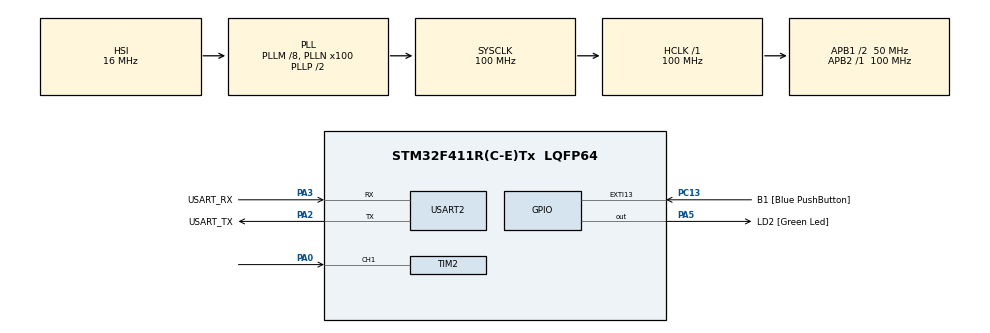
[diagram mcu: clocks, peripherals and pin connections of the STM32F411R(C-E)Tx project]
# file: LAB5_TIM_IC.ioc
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Dma.Request0=TIM2_CH1
Dma.TIM2_CH1.0.Direction=DMA_PERIPH_TO_MEMORY
Dma.TIM2_CH1.0.FIFOMode=DMA_FIFOMODE_DISABLE
Dma.TIM2_CH1.0.Instance=DMA1_Stream5
Dma.TIM2_CH1.0.MemDataAlignment=DMA_MDATAALIGN_WORD
Dma.TIM2_CH1.0.MemInc=DMA_MINC_ENABLE
Dma.TIM2_CH1.0.Mode=DMA_CIRCULAR
Dma.TIM2_CH1.0.PeriphDataAlignment=DMA_PDATAALIGN_WORD
Dma.TIM2_CH1.0.PeriphInc=DMA_PINC_DISABLE
Dma.TIM2_CH1.0.Priority=DMA_PRIORITY_LOW
Mcu.Family=STM32F4
Mcu.Name=STM32F411R(C-E)Tx
Mcu.Package=LQFP64
NVIC.DMA1_Stream5_IRQn=true\:0\:0\:false\:false\:true\:false\:true
NVIC.PriorityGroup=NVIC_PRIORITYGROUP_0
NVIC.TIM2_IRQn=true\:0\:0\:false\:false\:true\:true\:true
NVIC.TIM5_IRQn=true\:0\:0\:false\:false\:true\:true\:true
PA0-WKUP.Signal=S_TIM2_CH1_ETR
PA13.GPIO_Label=TMS
PA13.Mode=Serial_Wire
PA13.Signal=SYS_JTMS-SWDIO
PA14.GPIO_Label=TCK
PA14.Mode=Serial_Wire
PA14.Signal=SYS_JTCK-SWCLK
PA2.GPIO_Label=USART_TX
PA2.Mode=Asynchronous
PA2.Signal=USART2_TX
PA3.GPIO_Label=USART_RX
PA3.Mode=Asynchronous
PA3.Signal=USART2_RX
PA5.GPIO_Label=LD2 [Green Led]
PA5.Signal=GPIO_Output
PB3.GPIO_Label=SWO
PB3.Signal=SYS_JTDO-SWO
PC13-ANTI_TAMP.GPIO_Label=B1 [Blue PushButton]
PC13-ANTI_TAMP.GPIO_ModeDefaultEXTI=GPIO_MODE_IT_FALLING
PC13-ANTI_TAMP.Signal=GPXTI13
PC14-OSC32_IN.Mode=LSE-External-Oscillator
PC14-OSC32_IN.Signal=RCC_OSC32_IN
PC15-OSC32_OUT.Mode=LSE-External-Oscillator
PC15-OSC32_OUT.Signal=RCC_OSC32_OUT
PH0\ -\ OSC_IN.Mode=HSE-External-Clock-Source
PH0\ -\ OSC_IN.Signal=RCC_OSC_IN
PH1\ -\ OSC_OUT.Mode=HSE-External-Clock-Source
PH1\ -\ OSC_OUT.Signal=RCC_OSC_OUT
ProjectManager.HeapSize=0x200
ProjectManager.StackSize=0x400
ProjectManager.TargetToolchain=STM32CubeIDE
RCC.48MHZClocksFreq_Value=50000000
RCC.AHBFreq_Value=100000000
RCC.APB1CLKDivider=RCC_HCLK_DIV2
RCC.APB1Freq_Value=50000000
RCC.APB1TimFreq_Value=100000000
RCC.APB2Freq_Value=100000000
RCC.APB2TimFreq_Value=100000000
RCC.CortexFreq_Value=100000000
RCC.FLatency-AdvancedSettings=FLASH_LATENCY_3
RCC.HCLKFreq_Value=100000000
RCC.HSE_VALUE=8000000
RCC.HSI_VALUE=16000000
RCC.PLLM=8
RCC.PLLN=100
RCC.SYSCLKFreq_VALUE=100000000
RCC.SYSCLKSource=RCC_SYSCLKSOURCE_PLLCLK
RCC.VCOOutputFreq_Value=200000000
SH.S_TIM2_CH1_ETR.0=TIM2_CH1,Input_Capture1_from_TI1
TIM2.Channel-Input_Capture1_from_TI1=TIM_CHANNEL_1
TIM2.ICFilter_CH1=2
TIM2.Prescaler=99
TIM5.Prescaler=99
USART2.VirtualMode=VM_ASYNC
VP_TIM2_VS_ClockSourceINT.Mode=Internal
VP_TIM5_VS_ClockSourceINT.Mode=Internal
board=NUCLEO-F411RE

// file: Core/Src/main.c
/* USER CODE BEGIN Header */
/**
  ******************************************************************************
  * @file           : main.c
  * @brief          : Main program body
  ******************************************************************************
  * @attention
  *
  * <h2><center>&copy; Copyright (c) 2021 STMicroelectronics.
  * All rights reserved.</center></h2>
  *
  * This software component is licensed by ST under BSD 3-Clause license,
  * the "License"; You may not use this file except in compliance with the
  * License. You may obtain a copy of the License at:
  *                        opensource.org/licenses/BSD-3-Clause
  *
  ******************************************************************************
  */
/* USER CODE END Header */
#include "main.h"

/* USER CODE BEGIN PD */
#define CAPTURENUM 32
/* USER CODE END PD */

TIM_HandleTypeDef htim2;
TIM_HandleTypeDef htim5;
DMA_HandleTypeDef hdma_tim2_ch1;

UART_HandleTypeDef huart2;

/* USER CODE BEGIN PV */
// 12 P/R, Gear ratio 1:64
//DMA Buffer
uint32_t capturedata[CAPTURENUM] = {0};

//diff time of capture data
int64_t Difftime[CAPTURENUM - 1] = {0};

//Mean time
float MeanTime = 0;
float RPM = 0;

uint64_t _micros = 0;	//microsecond measurement
/* USER CODE END PV */

void SystemClock_Config(void);
static void MX_GPIO_Init(void);
static void MX_DMA_Init(void);
static void MX_USART2_UART_Init(void);
static void MX_TIM2_Init(void);
static void MX_TIM5_Init(void);
/* USER CODE BEGIN PFP */
void encoderSpeedReaderCycle();
uint64_t micros();
/* USER CODE END PFP */

int main(void)
{

  /* MCU Configuration--------------------------------------------------------*/

  /* Reset of all peripherals, Initializes the Flash interface and the Systick. */
  HAL_Init();

  /* Configure the system clock */
  SystemClock_Config();

  /* Initialize all configured peripherals */
  MX_GPIO_Init();
  MX_DMA_Init();
  MX_USART2_UART_Init();
  MX_TIM2_Init();
  MX_TIM5_Init();
  /* USER CODE BEGIN 2 */
  // start Microsec timer
  HAL_TIM_Base_Start_IT(&htim5);

  //start Input capture in DMA
  HAL_TIM_Base_Start(&htim2);
  HAL_TIM_IC_Start_DMA(&htim2, TIM_CHANNEL_1, (uint32_t*) capturedata, CAPTURENUM);
  uint64_t timestamp = 0;
  /* USER CODE END 2 */

  /* Infinite loop */
  /* USER CODE BEGIN WHILE */
  while (1)
  {
	  //read time of encoder
	  encoderSpeedReaderCycle();
	  if(micros() - timestamp > 100000)
	  	  {
	  		  timestamp = micros();
	  		  HAL_GPIO_TogglePin(LD2_GPIO_Port, LD2_Pin);
	  	  }
    /* USER CODE END WHILE */

  }
}

void SystemClock_Config(void)
{
  RCC_OscInitTypeDef RCC_OscInitStruct = {0};
  RCC_ClkInitTypeDef RCC_ClkInitStruct = {0};

  /** Configure the main internal regulator output voltage
  */
  __HAL_RCC_PWR_CLK_ENABLE();
  __HAL_PWR_VOLTAGESCALING_CONFIG(PWR_REGULATOR_VOLTAGE_SCALE1);
  /** Initializes the RCC Oscillators according to the specified parameters
  * in the RCC_OscInitTypeDef structure.
  */
  RCC_OscInitStruct.OscillatorType = RCC_OSCILLATORTYPE_HSI;
  RCC_OscInitStruct.HSIState = RCC_HSI_ON;
  RCC_OscInitStruct.HSICalibrationValue = RCC_HSICALIBRATION_DEFAULT;
  RCC_OscInitStruct.PLL.PLLState = RCC_PLL_ON;
  RCC_OscInitStruct.PLL.PLLSource = RCC_PLLSOURCE_HSI;
  RCC_OscInitStruct.PLL.PLLM = 8;
  RCC_OscInitStruct.PLL.PLLN = 100;
  RCC_OscInitStruct.PLL.PLLP = RCC_PLLP_DIV2;
  RCC_OscInitStruct.PLL.PLLQ = 4;
  if (HAL_RCC_OscConfig(&RCC_OscInitStruct) != HAL_OK)
  {
    Error_Handler();
  }
  /** Initializes the CPU, AHB and APB buses clocks
  */
  RCC_ClkInitStruct.ClockType = RCC_CLOCKTYPE_HCLK|RCC_CLOCKTYPE_SYSCLK
                              |RCC_CLOCKTYPE_PCLK1|RCC_CLOCKTYPE_PCLK2;
  RCC_ClkInitStruct.SYSCLKSource = RCC_SYSCLKSOURCE_PLLCLK;
  RCC_ClkInitStruct.AHBCLKDivider = RCC_SYSCLK_DIV1;
  RCC_ClkInitStruct.APB1CLKDivider = RCC_HCLK_DIV2;
  RCC_ClkInitStruct.APB2CLKDivider = RCC_HCLK_DIV1;

  if (HAL_RCC_ClockConfig(&RCC_ClkInitStruct, FLASH_LATENCY_3) != HAL_OK)
  {
    Error_Handler();
  }
}

static void MX_TIM2_Init(void)
{

  TIM_ClockConfigTypeDef sClockSourceConfig = {0};
  TIM_MasterConfigTypeDef sMasterConfig = {0};
  TIM_IC_InitTypeDef sConfigIC = {0};

  htim2.Instance = TIM2;
  htim2.Init.Prescaler = 99;
  htim2.Init.CounterMode = TIM_COUNTERMODE_UP;
  htim2.Init.Period = 4294967295;
  htim2.Init.ClockDivision = TIM_CLOCKDIVISION_DIV1;
  htim2.Init.AutoReloadPreload = TIM_AUTORELOAD_PRELOAD_DISABLE;
  if (HAL_TIM_Base_Init(&htim2) != HAL_OK)
  {
    Error_Handler();
  }
  sClockSourceConfig.ClockSource = TIM_CLOCKSOURCE_INTERNAL;
  if (HAL_TIM_ConfigClockSource(&htim2, &sClockSourceConfig) != HAL_OK)
  {
    Error_Handler();
  }
  if (HAL_TIM_IC_Init(&htim2) != HAL_OK)
  {
    Error_Handler();
  }
  sMasterConfig.MasterOutputTrigger = TIM_TRGO_RESET;
  sMasterConfig.MasterSlaveMode = TIM_MASTERSLAVEMODE_DISABLE;
  if (HAL_TIMEx_MasterConfigSynchronization(&htim2, &sMasterConfig) != HAL_OK)
  {
    Error_Handler();
  }
  sConfigIC.ICPolarity = TIM_INPUTCHANNELPOLARITY_RISING;
  sConfigIC.ICSelection = TIM_ICSELECTION_DIRECTTI;
  sConfigIC.ICPrescaler = TIM_ICPSC_DIV1;
  sConfigIC.ICFilter = 2;
  if (HAL_TIM_IC_ConfigChannel(&htim2, &sConfigIC, TIM_CHANNEL_1) != HAL_OK)
  {
    Error_Handler();
  }

}

static void MX_TIM5_Init(void)
{

  TIM_ClockConfigTypeDef sClockSourceConfig = {0};
  TIM_MasterConfigTypeDef sMasterConfig = {0};

  htim5.Instance = TIM5;
  htim5.Init.Prescaler = 99;
  htim5.Init.CounterMode = TIM_COUNTERMODE_UP;
  htim5.Init.Period = 4294967295;
  htim5.Init.ClockDivision = TIM_CLOCKDIVISION_DIV1;
  htim5.Init.AutoReloadPreload = TIM_AUTORELOAD_PRELOAD_DISABLE;
  if (HAL_TIM_Base_Init(&htim5) != HAL_OK)
  {
    Error_Handler();
  }
  sClockSourceConfig.ClockSource = TIM_CLOCKSOURCE_INTERNAL;
  if (HAL_TIM_ConfigClockSource(&htim5, &sClockSourceConfig) != HAL_OK)
  {
    Error_Handler();
  }
  sMasterConfig.MasterOutputTrigger = TIM_TRGO_RESET;
  sMasterConfig.MasterSlaveMode = TIM_MASTERSLAVEMODE_DISABLE;
  if (HAL_TIMEx_MasterConfigSynchronization(&htim5, &sMasterConfig) != HAL_OK)
  {
    Error_Handler();
  }

}

static void MX_USART2_UART_Init(void)
{

  huart2.Instance = USART2;
  huart2.Init.BaudRate = 115200;
  huart2.Init.WordLength = UART_WORDLENGTH_8B;
  huart2.Init.StopBits = UART_STOPBITS_1;
  huart2.Init.Parity = UART_PARITY_NONE;
  huart2.Init.Mode = UART_MODE_TX_RX;
  huart2.Init.HwFlowCtl = UART_HWCONTROL_NONE;
  huart2.Init.OverSampling = UART_OVERSAMPLING_16;
  if (HAL_UART_Init(&huart2) != HAL_OK)
  {
    Error_Handler();
  }

}

static void MX_DMA_Init(void)
{

  /* DMA controller clock enable */
  __HAL_RCC_DMA1_CLK_ENABLE();

  /* DMA interrupt init */
  /* DMA1_Stream5_IRQn interrupt configuration */
  HAL_NVIC_SetPriority(DMA1_Stream5_IRQn, 0, 0);
  HAL_NVIC_EnableIRQ(DMA1_Stream5_IRQn);

}

static void MX_GPIO_Init(void)
{
  GPIO_InitTypeDef GPIO_InitStruct = {0};

  /* GPIO Ports Clock Enable */
  __HAL_RCC_GPIOC_CLK_ENABLE();
  __HAL_RCC_GPIOH_CLK_ENABLE();
  __HAL_RCC_GPIOA_CLK_ENABLE();
  __HAL_RCC_GPIOB_CLK_ENABLE();

  /*Configure GPIO pin Output Level */
  HAL_GPIO_WritePin(LD2_GPIO_Port, LD2_Pin, GPIO_PIN_RESET);

  /*Configure GPIO pin : B1_Pin */
  GPIO_InitStruct.Pin = B1_Pin;
  GPIO_InitStruct.Mode = GPIO_MODE_IT_FALLING;
  GPIO_InitStruct.Pull = GPIO_NOPULL;
  HAL_GPIO_Init(B1_GPIO_Port, &GPIO_InitStruct);

  /*Configure GPIO pin : LD2_Pin */
  GPIO_InitStruct.Pin = LD2_Pin;
  GPIO_InitStruct.Mode = GPIO_MODE_OUTPUT_PP;
  GPIO_InitStruct.Pull = GPIO_NOPULL;
  GPIO_InitStruct.Speed = GPIO_SPEED_FREQ_LOW;
  HAL_GPIO_Init(LD2_GPIO_Port, &GPIO_InitStruct);

}

/* USER CODE BEGIN 4 */
void encoderSpeedReaderCycle()
{
	//get DMA Position form number of data
	uint32_t CapPos = CAPTURENUM - __HAL_DMA_GET_COUNTER(htim2.hdma[TIM_DMA_ID_CC1]);
	uint32_t sum = 0;

	//calculate diff from all buffer
	for(register int i = 0; i < CAPTURENUM - 1; i++)
	{
		Difftime[i] = capturedata[(CapPos + 1 + i) % CAPTURENUM] - capturedata[(CapPos + i) % CAPTURENUM];
		//time never go back, but timer can over flow, conpensate that
		if(Difftime[i] < 0)
		{
			Difftime[i] += 4294967295;
		}
		//Sum all 15 Diff
		sum += Difftime[i];
		RPM = (60*1000000)/(MeanTime*12*64);
	}

	//mean all 15  diff
	MeanTime = sum / (float)(CAPTURENUM - 1);
}

uint64_t micros()
{
	return _micros + htim5.Instance->CNT; // counter of timer 11
}

//interrupt
void HAL_TIM_PeriodElapsedCallback(TIM_HandleTypeDef *htim)
{
	if(htim == &htim5)
	{
		_micros += 4294967295;
	}
}
/* USER CODE END 4 */

void Error_Handler(void)
{
  __disable_irq();
  while (1)
  {
  }
}

/************************ (C) COPYRIGHT STMicroelectronics *****END OF FILE****/
